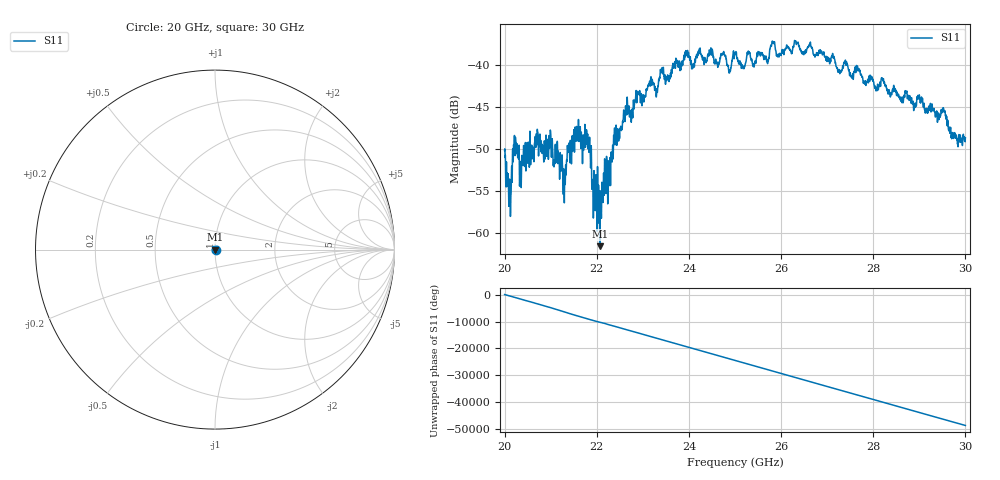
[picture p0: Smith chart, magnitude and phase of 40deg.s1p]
#  HZ  S  RI  R  50.00
! Rohde & Schwarz ZVA40 4Ports - Version 3.90 - 1145.1110k42 SN: 100403
! Date: 2023-10-03 12:53:27
! Measurement: S12
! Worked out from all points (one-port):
!   5001 points, 20 GHz to 30 GHz, reference 50 ohm
!   lowest |S11| = -61.6 dB at 22.06 GHz (marker M1), VSWR 1.00, Z = 49.9 + j0.0142 ohm
!   |S11| at or under -10 dB: start of sweep to end of sweep
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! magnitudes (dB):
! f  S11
! 20 GHz  -50.2
! 20.1 GHz  -55.2
! 20.22 GHz  -50.4
! 20.37 GHz  -51.9
! 20.73 GHz  -50.3
! 21 GHz  -48.3
! 21.25 GHz  -51.4
! 21.31 GHz  -53.8
! 21.39 GHz  -49.8
! 21.57 GHz  -48.3
! 21.78 GHz  -47.7
! 21.94 GHz  -53.0
! 22.06 GHz  -61.6
! 22.41 GHz  -47.8
! 22.5 GHz  -47.8
! 22.89 GHz  -43.4
! 23.75 GHz  -39.6
! 24.47 GHz  -38.4
! 24.87 GHz  -41.0
! 25 GHz  -38.8
! 25.18 GHz  -40.5
! 25.3 GHz  -38.5
! 25.7 GHz  -39.5
! 25.82 GHz  -37.4
! 26.25 GHz  -38.2
! 27.5 GHz  -41.0
! 28.75 GHz  -43.6
! 30 GHz  -48.7
